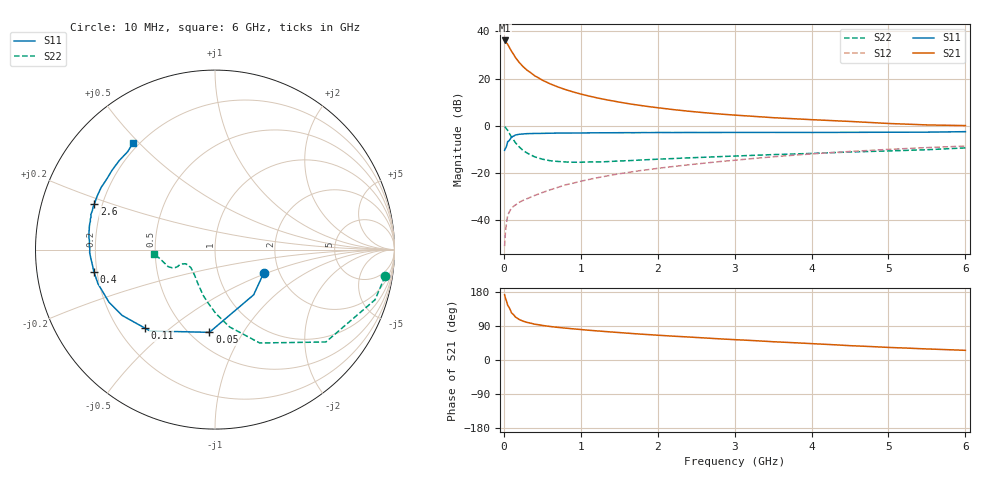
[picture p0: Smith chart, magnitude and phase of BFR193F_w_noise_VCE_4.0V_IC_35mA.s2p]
! Infineon Technologies  Discrete & RF Semiconductors
! BFR193F
! VCE =  4.0 V,  IC =  35 mA
! Common Emitter S-Parameters:  Jan 2017
# GHz  S  MA  R  50
!  f  S11  S21  S12  S22
! GHz  MAG  ANG  MAG  ANG  MAG  ANG  MAG  ANG
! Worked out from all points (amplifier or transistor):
!   77 points, 10 MHz to 6 GHz, reference 50 ohm
!   highest |S21| = 36.1 dB at 10 MHz (marker M1)
!   |S21| within 3 dB of that: start of sweep to 73.08 MHz
!   unconditionally stable (mu >= 1): 979.1 MHz to 2.655 GHz
!   at 130 MHz: K = 0.42, MSG = 32.1 dB, |S12| = -34.1 dB
!   at 2.2 GHz: K = 1.02, MAG = 11.3 dB, |S12| = -17.3 dB
!   at 6 GHz: K = 0.87, MSG = 4.3 dB, |S12| = -8.6 dB
!   lowest NFmin = 1.26 dB at 450 MHz
!   S11 on the Smith chart (normalised r, x): 10 MHz: 1.66, -0.48; 50 MHz: 0.62, -0.72; 110 MHz: 0.31, -0.41; 400 MHz: 0.19, -0.09; 2.6 GHz: 0.17, +0.18; 6 GHz: 0.18, +0.48
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0.01  0.3012 -25.8  64.17 172.1  0.0028 83.8  0.9594 -8.9
0.02  0.3314 -49.5  62.06 164.0  0.0053 83.6  0.9344 -17.4
0.05  0.4621 -93.9  53.21 144.5  0.0125 64.1  0.8039 -39.8
0.1  0.5801 -128.6  37.83 124.2  0.0182 51.9  0.5769 -64.4
0.11  0.587 -132.0  35.79 122.5  0.0187 51.5  0.5468 -66.8
0.15  0.6343 -144.7  28.03 113.6  0.0208 50.3  0.4388 -79.3
0.2  0.6595 -153.6  21.93 106.9  0.0238 49.1  0.3557 -89.3
0.25  0.6688 -159.8  17.89 102.5  0.0262 52.6  0.2986 -97.6
0.3  0.6791 -163.7  15.11 99.3  0.0283 53.6  0.2649 -104.1
0.4  0.6861 -169.6  11.48 94.5  0.0332 57.9  0.2195 -114.5
0.5  0.6887 -173.2  9.248 91.3  0.0383 61.0  0.1953 -122.5
0.6  0.6939 -176.2  7.752 88.5  0.0437 63.6  0.1816 -129.1
0.7  0.6986 -178.7  6.664 86.1  0.0493 65.2  0.175 -134.0
0.9  0.7014 177.6  5.21 82.2  0.0606 68.1  0.1684 -141.9
1.1  0.7056 174.5  4.282 78.6  0.0722 70.0  0.1705 -146.8
1.5  0.7118 169.6  3.17 72.4  0.0959 71.6  0.1789 -153.0
2.1  0.7178 163.3  2.302 64.2  0.1307 71.8  0.1984 -156.2
2.6  0.7183 159.2  1.893 58.3  0.1605 71.2  0.2144 -156.1
3.1  0.7211 154.8  1.639 52.7  0.1921 70.3  0.2309 -155.5
4.1  0.7203 146.0  1.322 42.2  0.2588 66.4  0.2624 -157.6
5.1  0.7285 136.0  1.1 32.4  0.3206 60.7  0.2959 -166.5
6  0.7488 127.5  1.007 25.5  0.3706 55.5  0.339 -175.8
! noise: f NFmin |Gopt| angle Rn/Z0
0.45  1.26  0.42  178  0.06
0.9  1.35  0.44  178  0.07
1.9  1.9  0.58  -166  0.08
2.4  2.2  0.61  -157  0.12
